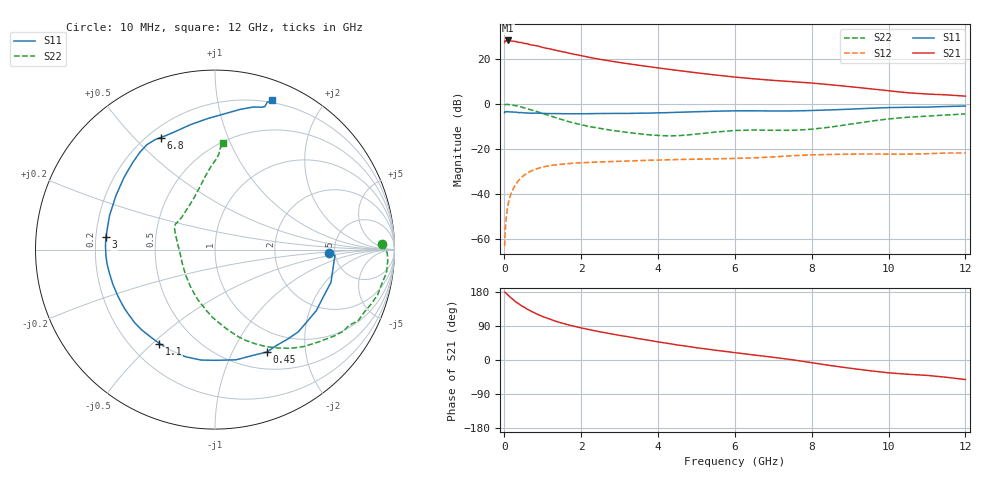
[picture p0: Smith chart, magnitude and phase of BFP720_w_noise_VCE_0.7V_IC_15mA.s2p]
! Infineon Technologies  Discrete & RF Semiconductors
! BFP720
! VCE =  0.7 V,  IC =  15 mA
! Common Emitter S-Parameters:  Aug 2012
# GHz  S  MA  R  50
!  f  S11  S21  S12  S22
! GHz  MAG  ANG  MAG  ANG  MAG  ANG  MAG  ANG
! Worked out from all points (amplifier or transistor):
!   105 points, 10 MHz to 12 GHz, reference 50 ohm
!   highest |S21| = 28.0 dB at 100 MHz (marker M1)
!   |S21| within 3 dB of that: start of sweep to 981.6 MHz
!   unconditionally stable (mu >= 1): start of sweep to 18.88 MHz; 4.324 GHz to 11.84 GHz
!   at 300 MHz: K = 0.12, MSG = 31.6 dB, |S12| = -35.7 dB
!   at 3.6 GHz: K = 0.88, MSG = 21.0 dB, |S12| = -25.1 dB
!   at 12 GHz: K = 0.96, MSG = 12.6 dB, |S12| = -21.8 dB
!   lowest NFmin = 0.63 dB at 450 MHz
!   S11 on the Smith chart (normalised r, x): 10 MHz: 4.50, -0.27; 450 MHz: 0.71, -1.38; 1.1 GHz: 0.32, -0.53; 3 GHz: 0.24, +0.05; 6.8 GHz: 0.25, +0.60; 12 GHz: 0.18, +1.44
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0.01  0.6372 -1.6  22.61 179.2  0.0007 -3.2  0.9305 1.8
0.02  0.6691 -2.9  24.75 179.0  0.0012 76.8  0.96 -1.1
0.1  0.6713 -15.8  25.25 171.1  0.0058 80.9  0.9642 -7.7
0.2  0.6591 -31.0  24.53 161.8  0.0113 75.6  0.9406 -15.5
0.3  0.6521 -44.7  24.01 153.5  0.0165 70.4  0.902 -22.7
0.35  0.6415 -51.6  23.16 150.0  0.0188 68.5  0.8909 -26.3
0.45  0.6401 -63.0  22.75 142.9  0.0232 63.4  0.8478 -32.4
0.6  0.6251 -79.2  21.33 134.3  0.0292 56.4  0.7722 -41.8
0.7  0.617 -89.5  20.07 128.7  0.0324 52.6  0.7326 -47.5
0.8  0.6203 -97.2  19.56 123.8  0.035 49.2  0.6933 -52.5
1.1  0.6082 -120.6  16.91 110.9  0.0413 39.8  0.5721 -66.7
1.4  0.6051 -137.6  14.92 100.4  0.045 33.1  0.4748 -78.1
1.6  0.6017 -146.6  13.76 94.6  0.0467 29.6  0.4204 -85.1
2.1  0.601 -164.2  11.18 82.7  0.0497 23.6  0.3285 -100.7
3  0.6118 173.4  8.215 65.0  0.0531 17.3  0.2451 -124.5
4.1  0.631 149.3  6.074 46.3  0.0569 11.9  0.1966 -159.3
5  0.6662 133.8  4.856 32.3  0.0592 8.1  0.213 169.6
6.1  0.6968 122.1  3.835 18.2  0.0619 5.4  0.2566 151.2
6.8  0.6937 115.8  3.4 9.6  0.0652 4.4  0.2598 144.8
8.5  0.7315 93.1  2.631 -14.8  0.0753 -5.6  0.3047 113.5
10.5  0.835 71.8  1.751 -37.6  0.0764 -16.0  0.502 89.4
12  0.8903 69.0  1.476 -51.6  0.0811 -23.5  0.5938 85.8
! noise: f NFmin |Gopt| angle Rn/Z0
0.45  0.63  0.22  1  0.43
1.8  0.7  0.22  14  0.13
2.4  0.75  0.2  22  0.38
5.5  0.93  0.1  -30  0.18
10  1.11  0.44  -74  0.27
